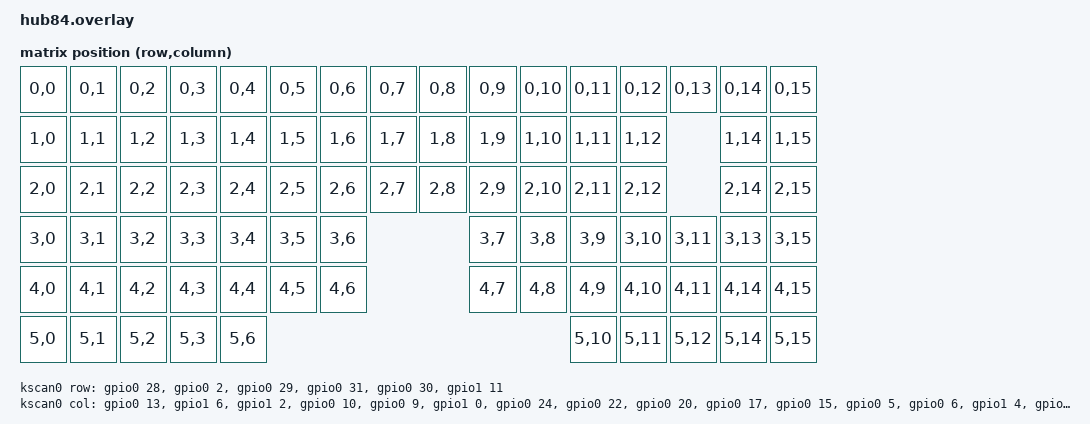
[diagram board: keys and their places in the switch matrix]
/* hub84.overlay */
#include <dt-bindings/zmk/matrix_transform.h>

/ {
    chosen {
        zmk,kscan = &kscan0;
        zmk,physical-layout = &physical_layout0;
    };

    studio_rpc {
        compatible = "zmk,studio-rpc-usb-uart";
        status = "okay";
    };



    keys_def: keys_def {
        compatible = "zmk,key-physical-attrs";
        #key-cells = <7>;
    };

    default_transform: keymap_transform_0 {
        compatible = "zmk,matrix-transform";
        columns = <16>;
        rows = <6>;
        map = <
            RC(0,0) RC(0,1) RC(0,2) RC(0,3) RC(0,4) RC(0,5) RC(0,6) RC(0,7) RC(0,8) RC(0,9) RC(0,10) RC(0,11) RC(0,12) RC(0,13) RC(0,14) RC(0,15)
            RC(1,0) RC(1,1) RC(1,2) RC(1,3) RC(1,4) RC(1,5) RC(1,6) RC(1,7) RC(1,8) RC(1,9) RC(1,10) RC(1,11) RC(1,12)          RC(1,14) RC(1,15)
            RC(2,0) RC(2,1) RC(2,2) RC(2,3) RC(2,4) RC(2,5) RC(2,6) RC(2,7) RC(2,8) RC(2,9) RC(2,10) RC(2,11) RC(2,12)          RC(2,14) RC(2,15)
            RC(3,0) RC(3,1) RC(3,2) RC(3,3) RC(3,4) RC(3,5) RC(3,6) RC(3,7) RC(3,8) RC(3,9) RC(3,10) RC(3,11)                RC(3,13) RC(3,15)
            RC(4,0) RC(4,1) RC(4,2) RC(4,3) RC(4,4) RC(4,5) RC(4,6) RC(4,7) RC(4,8) RC(4,9) RC(4,10)              RC(4,11)  RC(4,14) RC(4,15)
            RC(5,0) RC(5,1) RC(5,2) RC(5,3)                             RC(5,6)                        RC(5,10) RC(5,11) RC(5,12) RC(5,14) RC(5,15)
        >;
    };

    kscan0: kscan_0 {
        compatible = "zmk,kscan-gpio-matrix";
        wakeup-source;
        diode-direction = "col2row";
        col-gpios
            = <&gpio0 13 GPIO_ACTIVE_HIGH>
            , <&gpio1 6 GPIO_ACTIVE_HIGH>
            , <&gpio1 2 GPIO_ACTIVE_HIGH>
            , <&gpio0 10 GPIO_ACTIVE_HIGH>
            , <&gpio0 9 GPIO_ACTIVE_HIGH>
            , <&gpio1 0 GPIO_ACTIVE_HIGH>
            , <&gpio0 24 GPIO_ACTIVE_HIGH>
            , <&gpio0 22 GPIO_ACTIVE_HIGH>
            , <&gpio0 20 GPIO_ACTIVE_HIGH>
            , <&gpio0 17 GPIO_ACTIVE_HIGH>
            , <&gpio0 15 GPIO_ACTIVE_HIGH>
            , <&gpio0 5 GPIO_ACTIVE_HIGH>
            , <&gpio0 6 GPIO_ACTIVE_HIGH>
            , <&gpio1 4 GPIO_ACTIVE_HIGH>
            , <&gpio1 13 GPIO_ACTIVE_HIGH>
            , <&gpio0 3 GPIO_ACTIVE_HIGH>
            ;
        row-gpios
            = <&gpio0 28 (GPIO_ACTIVE_HIGH | GPIO_PULL_DOWN)>
            , <&gpio0 2  (GPIO_ACTIVE_HIGH | GPIO_PULL_DOWN)>
            , <&gpio0 29 (GPIO_ACTIVE_HIGH | GPIO_PULL_DOWN)>
            , <&gpio0 31 (GPIO_ACTIVE_HIGH | GPIO_PULL_DOWN)>
            , <&gpio0 30 (GPIO_ACTIVE_HIGH | GPIO_PULL_DOWN)>
            , <&gpio1 11 (GPIO_ACTIVE_HIGH | GPIO_PULL_DOWN)>
            ;
    };

    physical_layout0: physical_layout_0 {
        compatible = "zmk,physical-layout";
        display-name = "Default Layout";
        status = "okay";
        kscan = <&kscan0>;
        transform = <&default_transform>;
        keys = <
            &keys_def 100 100 0 0 0 0 0    &keys_def 100 100 100 0 0 0 0  &keys_def 100 100 200 0 0 0 0  &keys_def 100 100 300 0 0 0 0
            &keys_def 100 100 400 0 0 0 0  &keys_def 100 100 500 0 0 0 0  &keys_def 100 100 600 0 0 0 0  &keys_def 100 100 700 0 0 0 0
            &keys_def 100 100 800 0 0 0 0  &keys_def 100 100 900 0 0 0 0  &keys_def 100 100 1000 0 0 0 0 &keys_def 100 100 1100 0 0 0 0
            &keys_def 100 100 1200 0 0 0 0 &keys_def 100 100 1300 0 0 0 0 &keys_def 100 100 1400 0 0 0 0 &keys_def 100 100 1500 0 0 0 0
            
            &keys_def 100 100 0 100 0 0 0    &keys_def 100 100 100 100 0 0 0  &keys_def 100 100 200 100 0 0 0  &keys_def 100 100 300 100 0 0 0
            &keys_def 100 100 400 100 0 0 0  &keys_def 100 100 500 100 0 0 0  &keys_def 100 100 600 100 0 0 0  &keys_def 100 100 700 100 0 0 0
            &keys_def 100 100 800 100 0 0 0  &keys_def 100 100 900 100 0 0 0  &keys_def 100 100 1000 100 0 0 0 &keys_def 100 100 1100 100 0 0 0
            &keys_def 100 100 1200 100 0 0 0 &keys_def 200 100 1300 100 0 0 0 &keys_def 100 100 1500 100 0 0 0
            
            &keys_def 150 100 0 200 0 0 0    &keys_def 100 100 150 200 0 0 0  &keys_def 100 100 250 200 0 0 0  &keys_def 100 100 350 200 0 0 0
            &keys_def 100 100 450 200 0 0 0  &keys_def 100 100 550 200 0 0 0  &keys_def 100 100 650 200 0 0 0  &keys_def 100 100 750 200 0 0 0
            &keys_def 100 100 850 200 0 0 0  &keys_def 100 100 950 200 0 0 0  &keys_def 100 100 1050 200 0 0 0 &keys_def 100 100 1150 200 0 0 0
            &keys_def 100 100 1250 200 0 0 0 &keys_def 150 100 1350 200 0 0 0 &keys_def 100 100 1500 200 0 0 0
            
            &keys_def 175 100 0 300 0 0 0    &keys_def 100 100 175 300 0 0 0  &keys_def 100 100 275 300 0 0 0  &keys_def 100 100 375 300 0 0 0
            &keys_def 100 100 475 300 0 0 0  &keys_def 100 100 575 300 0 0 0  &keys_def 100 100 675 300 0 0 0  &keys_def 100 100 775 300 0 0 0
            &keys_def 100 100 875 300 0 0 0  &keys_def 100 100 975 300 0 0 0  &keys_def 100 100 1075 300 0 0 0 &keys_def 100 100 1175 300 0 0 0
            &keys_def 225 100 1275 300 0 0 0 &keys_def 100 100 1500 300 0 0 0

            &keys_def 225 100 0 400 0 0 0    &keys_def 100 100 225 400 0 0 0  &keys_def 100 100 325 400 0 0 0  &keys_def 100 100 425 400 0 0 0
            &keys_def 100 100 525 400 0 0 0  &keys_def 100 100 625 400 0 0 0  &keys_def 100 100 725 400 0 0 0  &keys_def 100 100 825 400 0 0 0
            &keys_def 100 100 925 400 0 0 0  &keys_def 100 100 1025 400 0 0 0 &keys_def 100 100 1125 400 0 0 0 &keys_def 175 100 1225 400 0 0 0
            &keys_def 100 100 1400 400 0 0 0 &keys_def 100 100 1500 400 0 0 0

            &keys_def 125 100 0 500 0 0 0    &keys_def 100 100 125 500 0 0 0  &keys_def 125 100 225 500 0 0 0  &keys_def 125 100 350 500 0 0 0
            &keys_def 625 100 475 500 0 0 0  &keys_def 100 100 1100 500 0 0 0 &keys_def 100 100 1200 500 0 0 0 &keys_def 100 100 1300 500 0 0 0
            &keys_def 100 100 1400 500 0 0 0 &keys_def 100 100 1500 500 0 0 0
        >;
    };

    aliases {
        led-caps = &caps_led;
        led-bat  = &bat_led;
    };

    leds {
        compatible = "gpio-leds";
        caps_led: led_0 {
            gpios = <&gpio0 8 GPIO_ACTIVE_HIGH>;
            label = "Caps Lock LED";
        };
    };

    pwmleds {
        compatible = "pwm-leds";
        bat_led: pwm_led_0 {
            pwms = <&pwm0 0 PWM_MSEC(20) PWM_POLARITY_NORMAL>;
            label = "Battery Low LED";
        };
    };
};

&pwm0 {
    status = "okay";
    pinctrl-0 = <&pwm0_default>;
    pinctrl-1 = <&pwm0_sleep>;
    pinctrl-names = "default", "sleep";
};

&pinctrl {
    pwm0_default: pwm0_default {
        group1 {
            psels = <NRF_PSEL(PWM_OUT0, 0, 7)>;
        };
    };

    pwm0_sleep: pwm0_sleep {
        group1 {
            psels = <NRF_PSEL(PWM_OUT0, 0, 7)>;
            low-power-enable;
        };
    };
};
};
